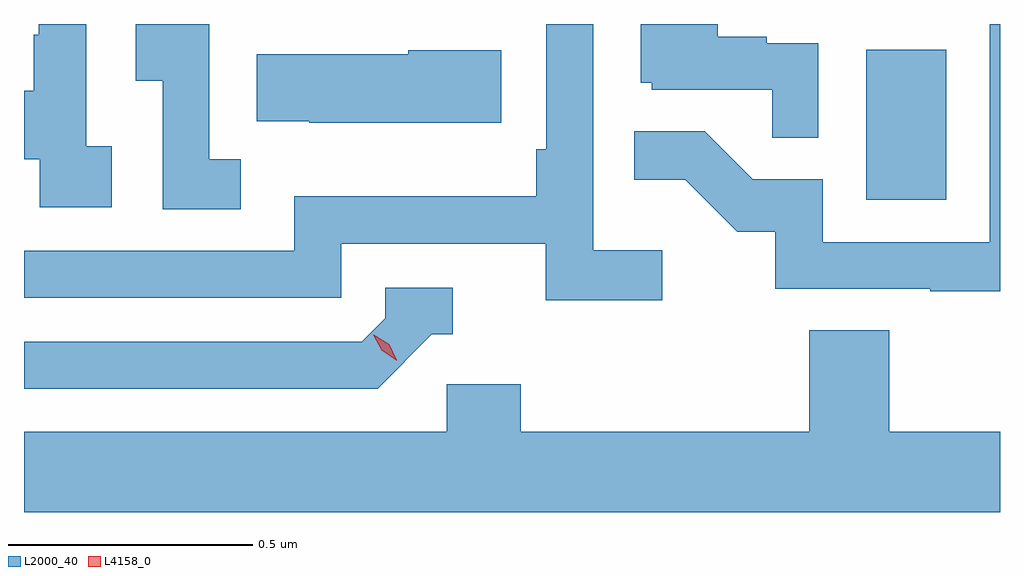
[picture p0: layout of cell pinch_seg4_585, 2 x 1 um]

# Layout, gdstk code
import gdstk
lib = gdstk.Library(unit=1e-6, precision=1e-09)
def R(c, l, rs):  # rectangles x0, y0, x1, y1
    for r in rs: c.add(gdstk.rectangle(r[:2], r[2:], *l))
def P(c, l, *ps):  # polygons
    for p in ps: c.add(gdstk.Polygon(p, *l))
L2000_40 = (2000, 40)
L4158_0 = (4158, 0)

pinch_seg4_585 = lib.new_cell('pinch_seg4_585')
R(pinch_seg4_585, L2000_40, [(1046.258,789.468,1046.422,789.775)])
P(pinch_seg4_585, L2000_40, [(1045.84,789.364),(1045.698,789.364),(1045.698,789.828),(1045.602,789.828),(1045.602,789.571),(1045.582,789.571),(1045.582,789.475),(1045.086,789.475),(1045.086,789.363),(1044.532,789.363),(1044.532,789.267),(1045.182,789.267),(1045.182,789.378),(1045.601,789.378),(1045.601,789.262),(1045.84,789.262)],
  [(1046.532,789.828),(1046.511,789.828),(1046.511,789.381),(1046.169,789.381),(1046.169,789.51),(1046.025,789.51),(1045.927,789.608),(1045.783,789.608),(1045.783,789.509),(1045.887,789.509),(1045.994,789.402),(1046.071,789.402),(1046.071,789.285),(1046.389,789.285),(1046.389,789.28),(1046.532,789.28)],
  [(1046.16,789.789),(1046.054,789.789),(1046.054,789.802),(1045.954,789.802),(1045.954,789.828),(1045.796,789.828),(1045.796,789.708),(1045.818,789.708),(1045.818,789.693),(1046.065,789.693),(1046.065,789.595),(1046.16,789.595)],
  [(1044.976,789.551),(1044.912,789.551),(1044.912,789.828),(1044.761,789.828),(1044.761,789.712),(1044.816,789.712),(1044.816,789.448),(1044.976,789.448)],
  [(1044.712,789.578),(1044.66,789.578),(1044.66,789.828),(1044.562,789.828),(1044.562,789.806),(1044.552,789.806),(1044.552,789.691),(1044.532,789.691),(1044.532,789.551),(1044.564,789.551),(1044.564,789.453),(1044.712,789.453)],
  [(1045.51,789.774),(1045.319,789.774),(1045.319,789.766),(1045.009,789.766),(1045.009,789.629),(1045.117,789.629),(1045.117,789.626),(1045.51,789.626)],
  [(1045.368,789.192),(1045.411,789.192),(1045.411,789.288),(1045.272,789.288),(1045.272,789.225),(1045.224,789.177),(1044.532,789.177),(1044.532,789.081),(1045.257,789.081)],
  [(1046.532,788.992),(1046.305,788.992),(1046.305,789.2),(1046.141,789.2),(1046.141,788.992),(1045.55,788.992),(1045.55,789.09),(1045.398,789.09),(1045.398,788.992),(1044.532,788.992),(1044.532,788.828),(1046.532,788.828)])
P(pinch_seg4_585, L4158_0, [(1045.295,789.139),(1045.265,789.159),(1045.248,789.191),(1045.248,789.191),(1045.249,789.191),(1045.28,789.172),(1045.296,789.139),(1045.296,789.139)])

lib.write_gds('pinch_seg4_585.gds')
